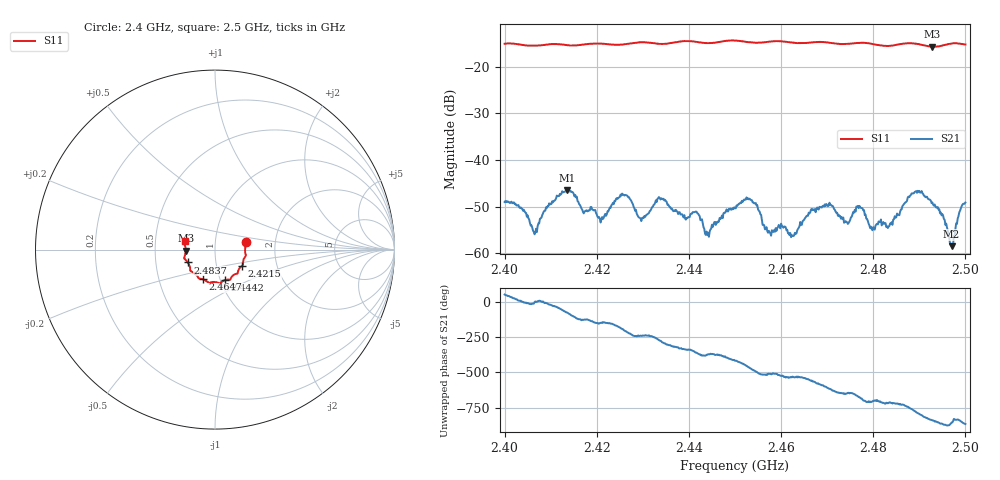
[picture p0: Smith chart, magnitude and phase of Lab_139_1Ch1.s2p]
# Hz S RI R 50
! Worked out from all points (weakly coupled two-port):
!   601 points, 2.4 GHz to 2.5 GHz, reference 50 ohm
!   highest |S21| = -46.55 dB at 2.4135 GHz (marker M1); lowest = -58.5 dB at 2.497 GHz (marker M2)
!   lowest |S11| = -15.7 dB at 2.4928 GHz (marker M3), VSWR 1.39, Z = 36 - j0.384 ohm
!   |S11| at or under -10 dB: start of sweep to end of sweep
!   S12 and S22 are empty: the file has one direction only
!   S11 on the Smith chart (normalised r, x): 2.4 GHz: 1.41, +0.12; 2.4215 GHz: 1.33, -0.25; 2.4442 GHz: 1.05, -0.37; 2.4647 GHz: 0.83, -0.28; 2.4837 GHz: 0.73, -0.11; 2.5 GHz: 0.71, +0.07
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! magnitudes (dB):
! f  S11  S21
! 2.4 GHz  -15.1  -49.0
! 2.4065 GHz  -15.5  -55.9
! 2.4135 GHz  -15.4  -46.5
! 2.4167 GHz  -15.3  -50.4
! 2.4215 GHz  -15.1  -52.4
! 2.4257 GHz  -15.2  -47.5
! 2.4297 GHz  -14.8  -53.1
! 2.4333 GHz  -15.1  -48.2
! 2.4442 GHz  -15.0  -55.7
! 2.45 GHz  -14.4  -50.3
! 2.4533 GHz  -14.8  -48.5
! 2.4575 GHz  -14.6  -55.5
! 2.4647 GHz  -15.0  -53.1
! 2.4667 GHz  -14.8  -50.5
! 2.4742 GHz  -15.1  -53.3
! 2.4768 GHz  -14.9  -50.3
! 2.4833 GHz  -15.6  -54.3
! 2.4837 GHz  -15.5  -53.6
! 2.4888 GHz  -15.0  -47.1
! 2.4928 GHz  -15.7  -49.1
! 2.497 GHz  -15.0  -58.5
! 2.5 GHz  -15.3  -49.1
